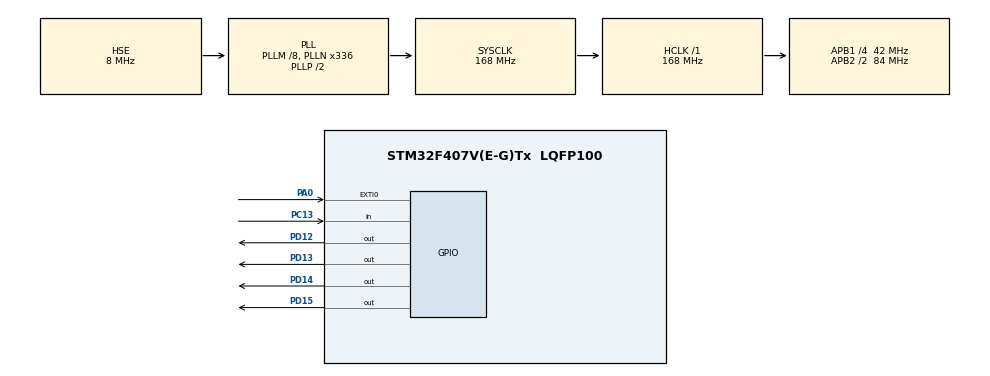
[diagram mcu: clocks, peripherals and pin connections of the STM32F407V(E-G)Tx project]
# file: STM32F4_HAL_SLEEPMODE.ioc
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Mcu.Family=STM32F4
Mcu.Name=STM32F407V(E-G)Tx
Mcu.Package=LQFP100
NVIC.EXTI0_IRQn=true\:0\:0\:false\:false\:true\:true
NVIC.PriorityGroup=NVIC_PRIORITYGROUP_0
PA0-WKUP.GPIO_PuPd=GPIO_PULLDOWN
PA0-WKUP.Signal=GPXTI0
PC13-ANTI_TAMP.GPIO_PuPd=GPIO_PULLUP
PC13-ANTI_TAMP.Signal=GPIO_Input
PD12.Signal=GPIO_Output
PD13.Signal=GPIO_Output
PD14.Signal=GPIO_Output
PD15.Signal=GPIO_Output
PH0-OSC_IN.Mode=HSE-External-Oscillator
PH0-OSC_IN.Signal=RCC_OSC_IN
PH1-OSC_OUT.Mode=HSE-External-Oscillator
PH1-OSC_OUT.Signal=RCC_OSC_OUT
ProjectManager.HeapSize=0x200
ProjectManager.StackSize=0x400
ProjectManager.TargetToolchain=TrueSTUDIO
RCC.48MHZClocksFreq_Value=48000000
RCC.AHBFreq_Value=168000000
RCC.APB1CLKDivider=RCC_HCLK_DIV4
RCC.APB1Freq_Value=42000000
RCC.APB1TimFreq_Value=84000000
RCC.APB2CLKDivider=RCC_HCLK_DIV2
RCC.APB2Freq_Value=84000000
RCC.APB2TimFreq_Value=168000000
RCC.CortexFreq_Value=168000000
RCC.HCLKFreq_Value=168000000
RCC.HSE_VALUE=8000000
RCC.HSI_VALUE=16000000
RCC.PLLM=8
RCC.PLLN=336
RCC.PLLQ=7
RCC.PLLSourceVirtual=RCC_PLLSOURCE_HSE
RCC.SYSCLKFreq_VALUE=168000000
RCC.SYSCLKSource=RCC_SYSCLKSOURCE_PLLCLK
RCC.VCOOutputFreq_Value=336000000
board=STM32F4DISCOVERY

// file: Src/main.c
/**
 ******************************************************************************
 * @file           : main.c
 * @brief          : Main program body
 ******************************************************************************
 ** This notice applies to any and all portions of this file
 * that are not between comment pairs USER CODE BEGIN and
 * USER CODE END. Other portions of this file, whether
 * inserted by the user or by software development tools
 * are owned by their respective copyright owners.
 *
 * COPYRIGHT(c) 2019 STMicroelectronics
 *
 * Redistribution and use in source and binary forms, with or without modification,
 * are permitted provided that the following conditions are met:
 *   1. Redistributions of source code must retain the above copyright notice,
 *      this list of conditions and the following disclaimer.
 *   2. Redistributions in binary form must reproduce the above copyright notice,
 *      this list of conditions and the following disclaimer in the documentation
 *      and/or other materials provided with the distribution.
 *   3. Neither the name of STMicroelectronics nor the names of its contributors
 *      may be used to endorse or promote products derived from this software
 *      without specific prior written permission.
 *
 * THIS SOFTWARE IS PROVIDED BY THE COPYRIGHT HOLDERS AND CONTRIBUTORS "AS IS"
 * AND ANY EXPRESS OR IMPLIED WARRANTIES, INCLUDING, BUT NOT LIMITED TO, THE
 * IMPLIED WARRANTIES OF MERCHANTABILITY AND FITNESS FOR A PARTICULAR PURPOSE ARE
 * DISCLAIMED. IN NO EVENT SHALL THE COPYRIGHT HOLDER OR CONTRIBUTORS BE LIABLE
 * FOR ANY DIRECT, INDIRECT, INCIDENTAL, SPECIAL, EXEMPLARY, OR CONSEQUENTIAL
 * DAMAGES (INCLUDING, BUT NOT LIMITED TO, PROCUREMENT OF SUBSTITUTE GOODS OR
 * SERVICES; LOSS OF USE, DATA, OR PROFITS; OR BUSINESS INTERRUPTION) HOWEVER
 * CAUSED AND ON ANY THEORY OF LIABILITY, WHETHER IN CONTRACT, STRICT LIABILITY,
 * OR TORT (INCLUDING NEGLIGENCE OR OTHERWISE) ARISING IN ANY WAY OUT OF THE USE
 * OF THIS SOFTWARE, EVEN IF ADVISED OF THE POSSIBILITY OF SUCH DAMAGE.
 *
 ******************************************************************************
 */
#include "main.h"
#include "stm32f4xx_hal.h"

/* USER CODE BEGIN PV */
/* Private variables ---------------------------------------------------------*/

/* USER CODE END PV */

void SystemClock_Config(void);
static void MX_GPIO_Init(void);

/* USER CODE BEGIN PFP */
/* Private function prototypes -----------------------------------------------*/

/* USER CODE END PFP */

/* USER CODE BEGIN 0 */
void SleepMode(void)
{
	/* Set LED1 */
	HAL_GPIO_WritePin(GPIOD, GPIO_PIN_12|GPIO_PIN_13|GPIO_PIN_14|GPIO_PIN_15, GPIO_PIN_RESET);
	HAL_GPIO_WritePin(GPIOD, GPIO_PIN_12, GPIO_PIN_SET);

	/* Suspend SysTick */
	HAL_SuspendTick();

	/* Enable Power Peripheral */
	__HAL_RCC_PWR_CLK_ENABLE();

	/* Sleep Mode */
	HAL_PWR_EnterSLEEPMode(0, PWR_SLEEPENTRY_WFI);

	/* Resume SysTick When System Wake-up */
	HAL_ResumeTick();
}

void StopMode(void)
{
	/* Set LED2 */
	HAL_GPIO_WritePin(GPIOD, GPIO_PIN_12|GPIO_PIN_13|GPIO_PIN_14|GPIO_PIN_15, GPIO_PIN_RESET);
	HAL_GPIO_WritePin(GPIOD, GPIO_PIN_13, GPIO_PIN_SET);

	/* Suspend SysTick */
	HAL_SuspendTick();

	/* Enable Power Peripheral */
	__HAL_RCC_PWR_CLK_ENABLE();

	/* STOP Mode */
	HAL_PWR_EnterSTOPMode(PWR_LOWPOWERREGULATOR_ON, PWR_SLEEPENTRY_WFI);

	/* Resume SysTick When System Wake-up */
	HAL_ResumeTick();

	/* PLL Clock Recovery */
	SystemClock_Config();
}

void StandbyMode(void)
{
	/* Set LED3 */
	HAL_GPIO_WritePin(GPIOD, GPIO_PIN_12|GPIO_PIN_13|GPIO_PIN_14|GPIO_PIN_15, GPIO_PIN_RESET);
	HAL_GPIO_WritePin(GPIOD, GPIO_PIN_14, GPIO_PIN_SET);

	/* Wait 5 seconds */
	HAL_Delay(5000);

	/* Enable Power Peripheral */
	__HAL_RCC_PWR_CLK_ENABLE();

	/* Enter STANDBY mode */
	HAL_PWR_EnterSTANDBYMode();
}

void HAL_GPIO_EXTI_Callback(uint16_t GPIO_Pin)
{
	static uint32_t debounce = 0;
	static uint32_t now = 0;

	if(GPIO_Pin == GPIO_PIN_0)
	{
		/* anti-chattering */
		now = HAL_GetTick();
		if(now - debounce < 200) return;

		debounce = HAL_GetTick();
	}
}

/* USER CODE END 0 */

int main(void)
{

	/* MCU Configuration----------------------------------------------------------*/

	/* Reset of all peripherals, Initializes the Flash interface and the Systick. */
	HAL_Init();

	/* Configure the system clock */
	SystemClock_Config();

	/* Initialize all configured peripherals */
	MX_GPIO_Init();
	/* USER CODE BEGIN 2 */

	/* Check STANDBY Wake-up */
	if(__HAL_PWR_GET_FLAG(PWR_FLAG_SB))
	{
		HAL_GPIO_WritePin(GPIOD, GPIO_PIN_12|GPIO_PIN_13|GPIO_PIN_14|GPIO_PIN_15, GPIO_PIN_SET);
		__HAL_PWR_CLEAR_FLAG(PWR_FLAG_WU | PWR_FLAG_SB);
	}

	/* Wait Sleep Mode Input */
	while(HAL_GPIO_ReadPin(GPIOC, GPIO_PIN_13) == GPIO_PIN_SET)
	{
		HAL_Delay(100);
	}

	SleepMode();

	/* Wait Stop Mode Input */
	while(HAL_GPIO_ReadPin(GPIOC, GPIO_PIN_13) == GPIO_PIN_SET)
	{
		HAL_Delay(100);
	}

	StopMode();

	/* Wait Standby Mode Input */
	while(HAL_GPIO_ReadPin(GPIOC, GPIO_PIN_13) == GPIO_PIN_SET)
	{
		HAL_Delay(100);
	}

	StandbyMode();

	/* USER CODE END 2 */

	/* Infinite loop */
	while (1)
	{

	}

}

void SystemClock_Config(void)
{

	RCC_OscInitTypeDef RCC_OscInitStruct;
	RCC_ClkInitTypeDef RCC_ClkInitStruct;

	/**Configure the main internal regulator output voltage
	 */
	__HAL_RCC_PWR_CLK_ENABLE();

	__HAL_PWR_VOLTAGESCALING_CONFIG(PWR_REGULATOR_VOLTAGE_SCALE1);

	/**Initializes the CPU, AHB and APB busses clocks
	 */
	RCC_OscInitStruct.OscillatorType = RCC_OSCILLATORTYPE_HSE;
	RCC_OscInitStruct.HSEState = RCC_HSE_ON;
	RCC_OscInitStruct.PLL.PLLState = RCC_PLL_ON;
	RCC_OscInitStruct.PLL.PLLSource = RCC_PLLSOURCE_HSE;
	RCC_OscInitStruct.PLL.PLLM = 8;
	RCC_OscInitStruct.PLL.PLLN = 336;
	RCC_OscInitStruct.PLL.PLLP = RCC_PLLP_DIV2;
	RCC_OscInitStruct.PLL.PLLQ = 7;
	if (HAL_RCC_OscConfig(&RCC_OscInitStruct) != HAL_OK)
	{
		_Error_Handler(__FILE__, __LINE__);
	}

	/**Initializes the CPU, AHB and APB busses clocks
	 */
	RCC_ClkInitStruct.ClockType = RCC_CLOCKTYPE_HCLK|RCC_CLOCKTYPE_SYSCLK
			|RCC_CLOCKTYPE_PCLK1|RCC_CLOCKTYPE_PCLK2;
	RCC_ClkInitStruct.SYSCLKSource = RCC_SYSCLKSOURCE_PLLCLK;
	RCC_ClkInitStruct.AHBCLKDivider = RCC_SYSCLK_DIV1;
	RCC_ClkInitStruct.APB1CLKDivider = RCC_HCLK_DIV4;
	RCC_ClkInitStruct.APB2CLKDivider = RCC_HCLK_DIV2;

	if (HAL_RCC_ClockConfig(&RCC_ClkInitStruct, FLASH_LATENCY_5) != HAL_OK)
	{
		_Error_Handler(__FILE__, __LINE__);
	}

	/**Configure the Systick interrupt time
	 */
	HAL_SYSTICK_Config(HAL_RCC_GetHCLKFreq()/1000);

	/**Configure the Systick
	 */
	HAL_SYSTICK_CLKSourceConfig(SYSTICK_CLKSOURCE_HCLK);

	/* SysTick_IRQn interrupt configuration */
	HAL_NVIC_SetPriority(SysTick_IRQn, 0, 0);
}

/** Configure pins as
 * Analog
 * Input
 * Output
 * EVENT_OUT
 * EXTI
 */
static void MX_GPIO_Init(void)
{

	GPIO_InitTypeDef GPIO_InitStruct;

	/* GPIO Ports Clock Enable */
	__HAL_RCC_GPIOC_CLK_ENABLE();
	__HAL_RCC_GPIOH_CLK_ENABLE();
	__HAL_RCC_GPIOA_CLK_ENABLE();
	__HAL_RCC_GPIOD_CLK_ENABLE();

	/*Configure GPIO pin Output Level */
	HAL_GPIO_WritePin(GPIOD, GPIO_PIN_12|GPIO_PIN_13|GPIO_PIN_14|GPIO_PIN_15, GPIO_PIN_RESET);

	/*Configure GPIO pin : PC13 */
	GPIO_InitStruct.Pin = GPIO_PIN_13;
	GPIO_InitStruct.Mode = GPIO_MODE_INPUT;
	GPIO_InitStruct.Pull = GPIO_PULLUP;
	HAL_GPIO_Init(GPIOC, &GPIO_InitStruct);

	/*Configure GPIO pin : PA0 */
	GPIO_InitStruct.Pin = GPIO_PIN_0;
	GPIO_InitStruct.Mode = GPIO_MODE_IT_RISING;
	GPIO_InitStruct.Pull = GPIO_PULLDOWN;
	HAL_GPIO_Init(GPIOA, &GPIO_InitStruct);

	/*Configure GPIO pins : PD12 PD13 PD14 PD15 */
	GPIO_InitStruct.Pin = GPIO_PIN_12|GPIO_PIN_13|GPIO_PIN_14|GPIO_PIN_15;
	GPIO_InitStruct.Mode = GPIO_MODE_OUTPUT_PP;
	GPIO_InitStruct.Pull = GPIO_NOPULL;
	GPIO_InitStruct.Speed = GPIO_SPEED_FREQ_LOW;
	HAL_GPIO_Init(GPIOD, &GPIO_InitStruct);

	/* EXTI interrupt init*/
	HAL_NVIC_SetPriority(EXTI0_IRQn, 0, 0);
	HAL_NVIC_EnableIRQ(EXTI0_IRQn);

}

void _Error_Handler(char *file, int line)
{
	while(1)
	{
	}
}

/************************ (C) COPYRIGHT STMicroelectronics *****END OF FILE****/
